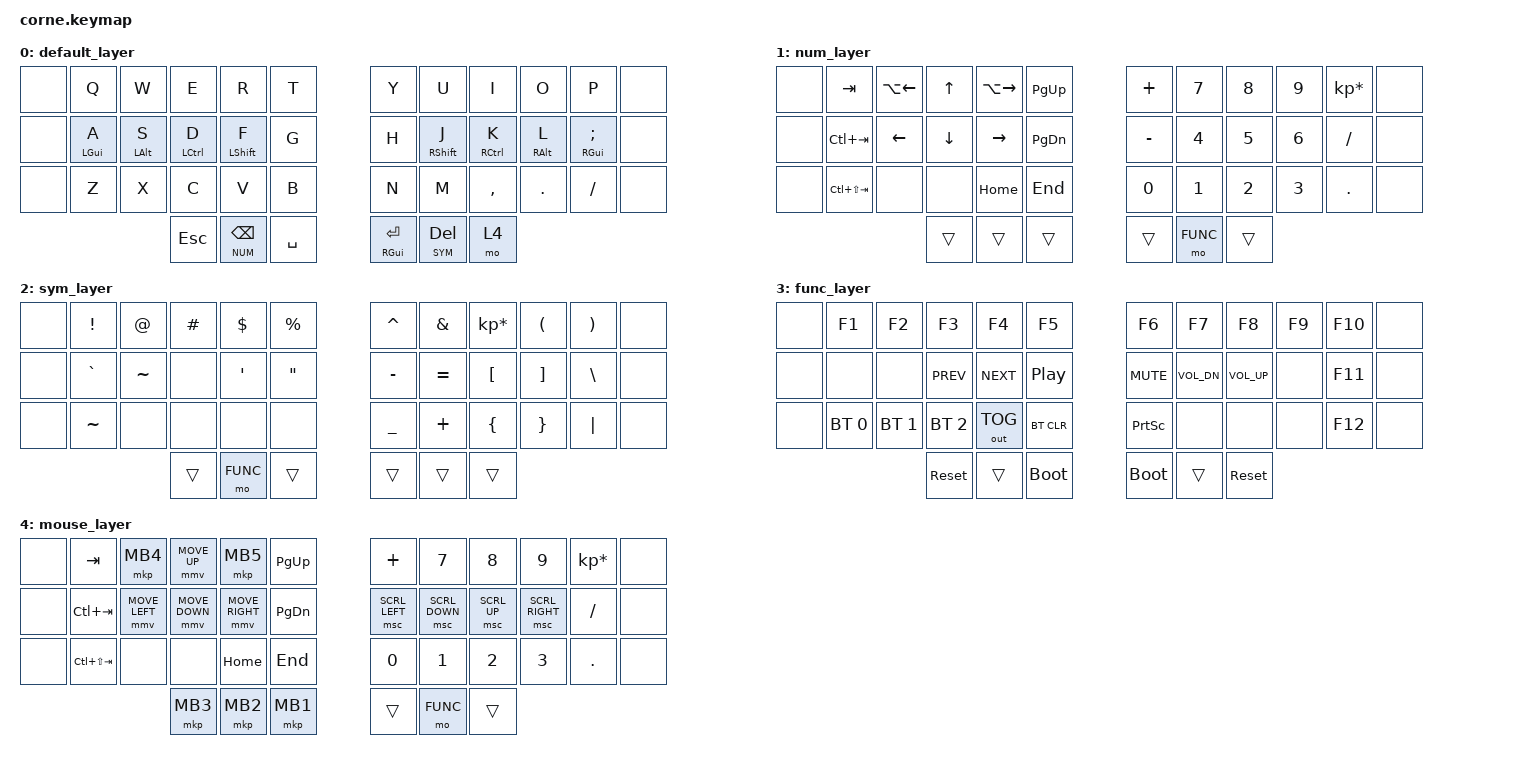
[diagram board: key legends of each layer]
/*
 * Copyright (c) 2020 The ZMK Contributors
 *
 * SPDX-License-Identifier: MIT
 */

#include <dt-bindings/zmk/keys.h>
#include <dt-bindings/zmk/bt.h>
#include <dt-bindings/zmk/outputs.h>
#include <behaviors.dtsi>

#define ZMK_POINTING_DEFAULT_MOVE_VAL 1500

#include <dt-bindings/zmk/pointing.h>

// LAYERS
#define DEFAULT 0
#define NUM     1
#define SYM     2
#define FUNC    3
#define MOUSE   4

&mt {
  tapping-term-ms = <200>;
  flavor = "tap-preferred";
};

/ {
  behaviors {
    hml: homerow_mods_left {
      compatible = "zmk,behavior-hold-tap";
      label = "HOMEROW_MODS_LEFT";
      #binding-cells = <2>;
      tapping-term-ms = <250>;
      require-prior-idle-ms = <85>;
      quick-tap-ms = <0>;
      flavor = "balanced";
      hold-trigger-key-positions = <6 7 8 9 10 11 18 19 20 21 22 29 30 31 32 33 34 38 39 40>;
      bindings = <&kp>, <&kp>;
      hold-trigger-on-release;
    };

    hmr: homerow_mods_right {
      compatible = "zmk,behavior-hold-tap";
      label = "HOMEROW_MODS_RIGHT";
      #binding-cells = <2>;
      tapping-term-ms = <250>;
      require-prior-idle-ms = <85>;
      quick-tap-ms = <0>;
      flavor = "balanced";
      hold-trigger-key-positions = <0 1 2 3 4 5 12 13 14 15 16 17 23 24 25 26 27 28 35 36 37>;
      bindings = <&kp>, <&kp>;
      hold-trigger-on-release;
    };

    hml_shift: homerow_mods_left_shift {
      compatible = "zmk,behavior-hold-tap";
      label = "HOMEROW_MODS_LEFT_SHIFT";
      #binding-cells = <2>;
      tapping-term-ms = <175>;
      require-prior-idle-ms = <85>;
      quick-tap-ms = <0>;
      flavor = "balanced";
      hold-trigger-key-positions = <6 7 8 9 10 11 18 19 20 21 22 29 30 31 32 33 34 38 39 40>;
      bindings = <&kp>, <&kp>;
      hold-trigger-on-release;
    };

    hmr_shift: homerow_mods_right_shift {
      compatible = "zmk,behavior-hold-tap";
      label = "HOMEROW_MODS_RIGHT_SHIFT";
      #binding-cells = <2>;
      tapping-term-ms = <175>;
      require-prior-idle-ms = <85>;
      quick-tap-ms = <0>;
      flavor = "balanced";
      hold-trigger-key-positions = <0 1 2 3 4 5 12 13 14 15 16 17 23 24 25 26 27 28 35 36 37>;
      bindings = <&kp>, <&kp>;
      hold-trigger-on-release;
    };
  };

  combos {
    compatible = "zmk,combos";
    combo_cword {
      timeout-ms = <75>;
      key-positions = <16 19>;
      bindings = <&caps_word>;
    };
  };

  keymap {
    compatible = "zmk,keymap";

    default_layer {
      bindings = <

&none   /**/  &kp Q           &kp W       &kp E       &kp R           &kp T   /**/  &kp Y    &kp U           &kp I       &kp O       &kp P          /**/  &none
&none   /**/  &hml LGUI A      &hml LALT S  &hml LCTRL D &hml_shift LSHIFT F    &kp G   /**/  &kp H    &hmr_shift RSHIFT J    &hmr RCTRL K &hmr RALT L  &hmr RGUI SEMI  /**/  &none
&none   /**/  &kp Z           &kp X       &kp C       &kp V           &kp B   /**/  &kp N    &kp M           &kp COMMA   &kp DOT     &kp FSLH       /**/  &none
                                         &kp ESC &lt NUM BSPC &kp SPACE       /**/  &mt RGUI RET &lt SYM DEL &mo 4
      >;
    };

    num_layer {
      bindings = <

&none   /**/  &kp TAB         &kp LA(LEFT)  &kp UP        &kp LA(RIGHT) &kp PG_UP  /**/  &kp PLUS   &kp N7  &kp N8  &kp N9  &kp KP_MULTIPLY  /**/  &none
&none   /**/  &kp LC(TAB)     &kp LEFT      &kp DOWN      &kp RIGHT     &kp PG_DN  /**/  &kp MINUS  &kp N4  &kp N5  &kp N6  &kp SLASH        /**/  &none
&none   /**/  &kp LC(LS(TAB)) &none         &none         &kp HOME      &kp END    /**/  &kp N0     &kp N1  &kp N2  &kp N3  &kp DOT          /**/  &none
              &trans  &trans  &trans  /**/  &trans  &mo FUNC  &trans
      >;
    };

    sym_layer {
      bindings = <

&none   /**/  &kp EXCL    &kp AT         &kp HASH     &kp DLLR    &kp PRCNT   /**/  &kp CARET &kp AMPS  &kp KP_MULTIPLY &kp LPAR &kp RPAR  /**/  &none
&none   /**/  &kp GRAVE   &kp TILDE      &none        &kp SQT     &kp DQT     /**/  &kp MINUS &kp EQUAL &kp LBKT        &kp RBKT &kp BSLH  /**/  &none
&none   /**/  &kp TILDE   &none          &none        &none       &none       /**/  &kp UNDER &kp PLUS  &kp LBRC        &kp RBRC &kp PIPE  /**/  &none
              &trans &mo FUNC &trans  /**/  &trans &trans &trans
      >;
    };

    func_layer {
      bindings = <

&none   /**/  &kp F1          &kp F2          &kp F3          &kp F4     &kp F5            /**/  &kp F6          &kp F7       &kp F8       &kp F9   &kp F10  /**/  &none
&none   /**/  &none           &none           &kp C_PREV      &kp C_NEXT &kp C_PLAY_PAUSE  /**/  &kp C_MUTE      &kp C_VOL_DN &kp C_VOL_UP &none    &kp F11  /**/  &none
&none   /**/  &bt BT_SEL 0    &bt BT_SEL 1    &bt BT_SEL 2    &out OUT_TOG &bt BT_CLR      /**/  &kp PSCRN       &none        &none        &none    &kp F12  /**/  &none
              &sys_reset &trans &bootloader  /**/  &bootloader &trans &sys_reset
      >;
    };

    mouse_layer {
      bindings = <

&none   /**/  &kp TAB         &mkp MB4   &mmv MOVE_UP   &mkp MB5   &kp PG_UP          /**/  &kp PLUS       &kp N7  &kp N8  &kp N9  &kp KP_MULTIPLY                    /**/  &none
&none   /**/  &kp LC(TAB)     &mmv MOVE_LEFT &mmv MOVE_DOWN &mmv MOVE_RIGHT &kp PG_DN /**/  &msc SCRL_LEFT &msc SCRL_DOWN &msc SCRL_UP &msc SCRL_RIGHT &kp SLASH  /**/  &none
&none   /**/  &kp LC(LS(TAB)) &none          &none          &kp HOME        &kp END   /**/  &kp N0         &kp N1  &kp N2  &kp N3  &kp DOT                            /**/  &none
                                                        &mkp MB3  &mkp MB2  &mkp MB1  /**/  &trans         &mo FUNC  &trans
      >;
    };
  };
};
